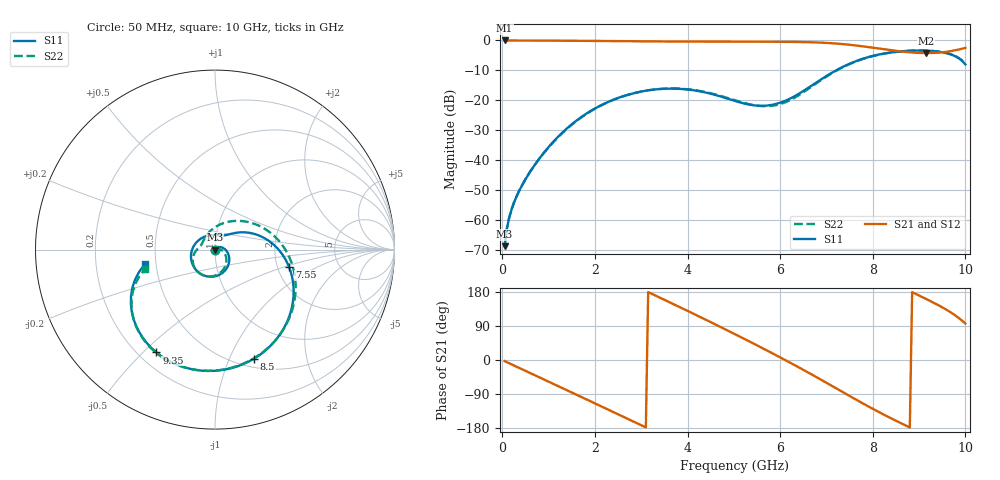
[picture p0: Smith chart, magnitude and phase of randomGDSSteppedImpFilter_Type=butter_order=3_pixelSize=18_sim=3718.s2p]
! freq	dB(S11)	phase(S11)	dB(S12)	phase(S12)
!  dB(S21)	phase(S21)	dB(S22)	phase(S22)
!S-par simulation data
#  GHz  S  DB  R 50
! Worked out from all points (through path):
!   200 points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, 50 MHz to 10 GHz, reference 50 ohm
!   highest |S21| = -0.01 dB at 50 MHz (marker M1); lowest = -4.2 dB at 9.15 GHz (marker M2)
!   group delay of S21, straight-line fit = 172 ps
!   lowest |S11| = -68.7 dB at 50 MHz (marker M3), VSWR 1.00, Z = 50 + j0.0353 ohm
!   |S11| at or under -10 dB: start of sweep to 7.207 GHz
!   |S22| runs from -68.6 to -3.4 dB; largest |S21 - S12| = 0
!   S11 on the Smith chart (normalised r, x): 50 MHz: 1.00, +0.00; 7.55 GHz: 2.32, -0.55; 8.5 GHz: 0.59, -1.24; 9.35 GHz: 0.27, -0.55; 10 GHz: 0.44, -0.08
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0.05  -68.69 73.7  -0.01 -2.9  -0.01 -2.9  -68.61 69.9
0.1  -62.81 80.1  -0.02 -5.8  -0.02 -5.8  -62.71 72.4
0.2  -56.47 81.6  -0.03 -11.5  -0.03 -11.5  -56.37 66.8
0.5  -46.38 73.9  -0.04 -28.6  -0.04 -28.6  -46.30 45.4
1.15  -33.03 39.9  -0.08 -65.7  -0.08 -65.7  -33.17 11.1
1.75  -25.12 2.0  -0.13 -100.0  -0.13 -100.0  -25.22 -19.2
2.65  -18.43 -55.1  -0.24 -151.9  -0.24 -151.9  -18.45 -66.8
3.4  -16.23 -102.5  -0.35 164.7  -0.35 164.7  -16.20 -106.0
4.3  -17.09 -162.8  -0.40 111.9  -0.40 111.9  -16.96 -150.5
5.05  -20.32 136.4  -0.39 66.6  -0.39 66.6  -20.10 179.0
5.55  -21.82 90.2  -0.41 35.6  -0.41 35.6  -21.85 160.1
5.95  -21.03 62.1  -0.44 10.2  -0.44 10.2  -21.47 134.6
6.3  -18.73 47.3  -0.49 -12.6  -0.49 -12.6  -19.24 102.1
6.7  -14.86 32.2  -0.63 -39.4  -0.63 -39.4  -15.18 63.4
7.15  -10.49 10.1  -0.97 -70.6  -0.97 -70.6  -10.65 24.5
7.55  -7.45 -13.2  -1.53 -98.5  -1.53 -98.5  -7.54 -6.6
8.35  -4.10 -61.6  -3.18 -151.1  -3.18 -151.1  -4.14 -61.3
8.5  -3.80 -70.4  -3.48 -160.2  -3.48 -160.2  -3.83 -70.5
9.15  -3.41 -107.7  -4.22 161.3  -4.22 161.3  -3.40 -108.3
9.35  -3.62 -119.7  -4.15 148.9  -4.15 148.9  -3.59 -120.0
9.75  -5.06 -147.0  -3.38 120.3  -3.38 120.3  -4.98 -145.7
10  -8.03 -168.4  -2.50 96.3  -2.50 96.3  -7.84 -164.3
